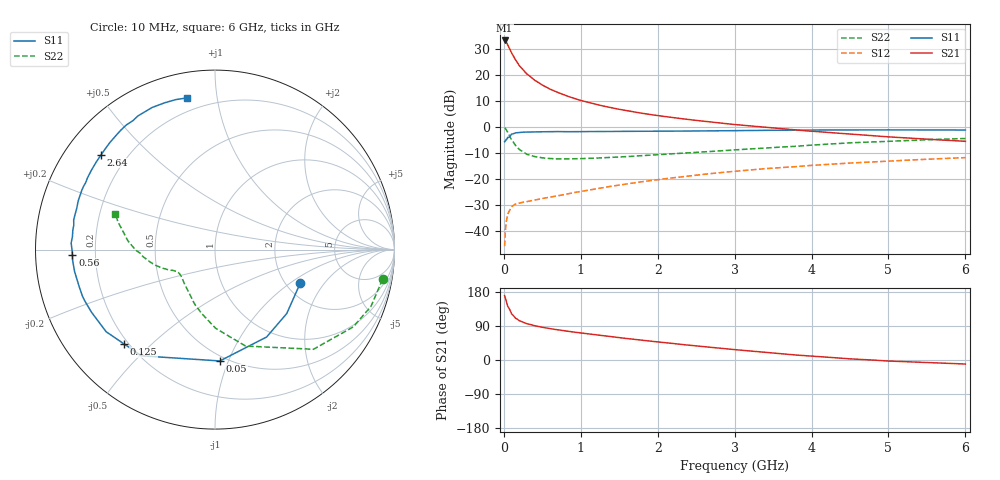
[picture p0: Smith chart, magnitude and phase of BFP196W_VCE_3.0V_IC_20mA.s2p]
! Infineon Technologies  Discrete & RF Semiconductors
! BFP196W
! VCE = 3.0 V,  IC =  20mA
! Common Emitter S-Parameters:  Jan 2016
# GHz  S  MA  R  50
!  f  S11  S21  S12  S22
! GHz  MAG  ANG  MAG  ANG  MAG  ANG  MAG  ANG
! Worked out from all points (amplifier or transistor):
!   210 points, 10 MHz to 6 GHz, reference 50 ohm
!   highest |S21| = 33.2 dB at 10 MHz (marker M1)
!   |S21| within 3 dB of that: start of sweep to 72.31 MHz
!   unconditionally stable (mu >= 1): 880.1 MHz to 3.31 GHz
!   at 185 MHz: K = 0.33, MSG = 26.9 dB, |S12| = -29.6 dB
!   at 1.52 GHz: K = 1.13, MAG = 12.3 dB, |S12| = -22.4 dB
!   at 6 GHz: K = 0.94, MSG = 3.1 dB, |S12| = -11.9 dB
!   S11 on the Smith chart (normalised r, x): 10 MHz: 2.39, -1.20; 50 MHz: 0.46, -0.93; 125 MHz: 0.18, -0.41; 560 MHz: 0.11, -0.02; 2.64 GHz: 0.11, +0.36; 6 GHz: 0.13, +0.83
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0.01  0.5105 -21.3  45.48 169.9  0.005 79.9  0.9481 -10.1
0.02  0.5354 -41.7  44.94 163.1  0.0099 73.8  0.9249 -20.0
0.03  0.5655 -59.4  42.99 155.5  0.0143 68.3  0.8827 -29.2
0.05  0.621 -87.5  37.79 142.1  0.0207 57.1  0.7803 -45.4
0.1  0.7198 -124.7  26.3 121.8  0.0287 40.8  0.5636 -72.4
0.125  0.7304 -134.1  22.72 117.0  0.0304 37.1  0.4953 -79.9
0.15  0.7598 -143.0  19.36 110.4  0.0323 33.9  0.4381 -89.6
0.16  0.7602 -145.0  18.47 109.3  0.0326 33.4  0.422 -91.7
0.2  0.7713 -153.0  14.99 103.9  0.0336 31.7  0.3644 -101.6
0.26  0.7826 -160.6  11.88 98.6  0.0354 31.0  0.3184 -111.7
0.3  0.7842 -164.3  10.27 95.8  0.0361 32.0  0.2932 -117.4
0.4  0.7919 -171.2  7.813 90.4  0.0386 33.6  0.2653 -127.3
0.56  0.7954 -178.0  5.673 84.2  0.0428 37.4  0.2458 -137.2
0.8  0.7976 174.7  3.972 76.7  0.0497 43.2  0.2388 -144.8
1.02  0.7996 169.8  3.13 70.9  0.057 47.0  0.2423 -148.8
1.4  0.806 161.9  2.303 61.3  0.0712 50.7  0.2559 -152.5
2.02  0.8151 150.6  1.615 47.3  0.0961 52.7  0.2877 -157.3
2.64  0.8256 140.1  1.249 34.3  0.1224 51.1  0.3292 -163.4
3.1  0.8384 132.8  1.064 25.6  0.1425 48.6  0.3638 -168.6
4.1  0.8601 118.8  0.796 9.0  0.1831 42.0  0.4491 179.3
5.1  0.8641 108.0  0.622 -3.5  0.2203 34.4  0.5305 167.7
6  0.8595 100.4  0.521 -10.6  0.2531 28.1  0.5899 160.1
